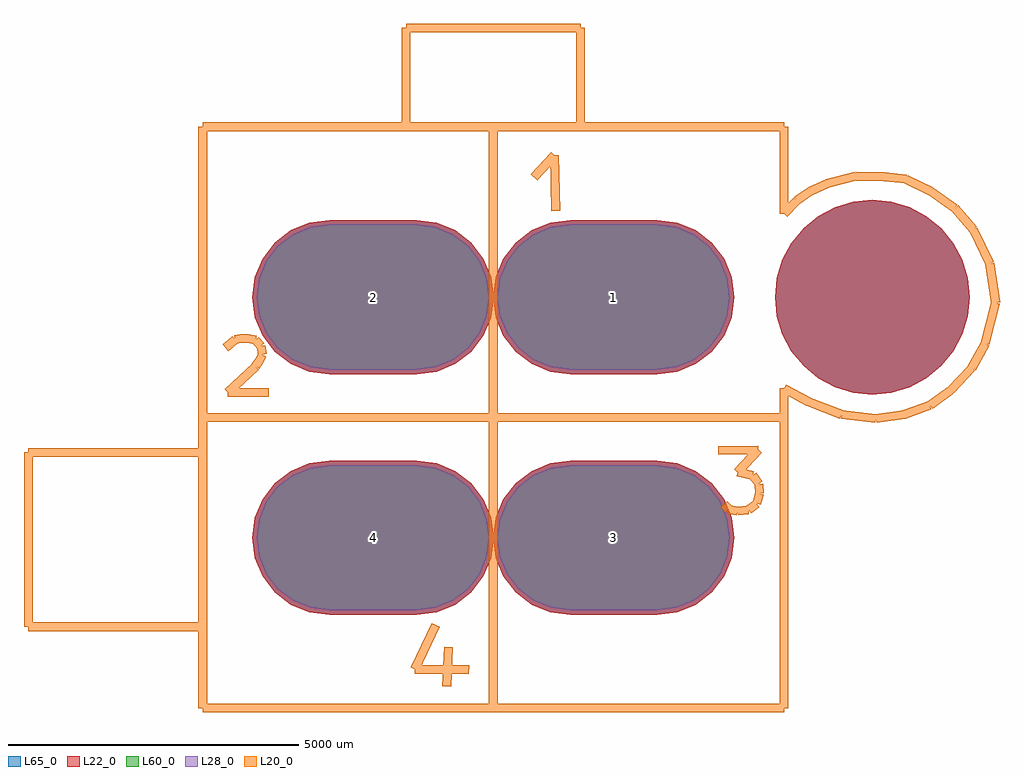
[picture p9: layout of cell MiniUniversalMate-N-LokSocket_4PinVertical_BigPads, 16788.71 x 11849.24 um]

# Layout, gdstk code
import gdstk
lib = gdstk.Library(unit=1e-6, precision=1e-09)
def P(c, l, *ps):  # polygons
    for p in ps: c.add(gdstk.Polygon(p, *l))
L20_0 = (20, 0)
L22_0 = (22, 0)
L28_0 = (28, 0)
L60_0 = (60, 0)
L65_0 = (65, 0)

miniuniversalmate_n_loks = lib.new_cell('MiniUniversalMate-N-LokSocket_4PinVertical_BigPads')
P(miniuniversalmate_n_loks, L22_0, [(8195.38,2070.1),(8163.192,2396.915),(8067.863,2711.171),(7913.058,3000.791),(7704.725,3254.645),(7450.871,3462.978),(7161.251,3617.783),(6846.995,3713.112),(6520.18,3745.3),(6193.365,3713.112),(5879.109,3617.783),(5589.489,3462.978),(5335.635,3254.645),(5127.302,3000.791),(4972.497,2711.171),(4877.168,2396.915),(4844.98,2070.1),(4877.168,1743.285),(4972.497,1429.029),(5127.302,1139.409),(5335.635,885.555),(5589.489,677.222),(5879.109,522.417),(6193.365,427.088),(6520.18,394.9),(6846.995,427.088),(7161.251,522.417),(7450.871,677.222),(7704.725,885.555),(7913.058,1139.409),(8067.863,1429.029),(8163.192,1743.285)],
  [(-2820.67,-3394.78),(-1319.53,-3394.78),(-976.678,-3349.643),(-657.19,-3217.307),(-382.84,-3006.79),(-172.323,-2732.44),(-39.987,-2412.952),(5.15,-2070.1),(-39.987,-1727.248),(-172.323,-1407.76),(-382.84,-1133.41),(-657.19,-922.893),(-976.678,-790.557),(-1319.53,-745.42),(-2820.67,-745.42),(-3163.522,-790.557),(-3483.01,-922.893),(-3757.36,-1133.41),(-3967.877,-1407.76),(-4100.213,-1727.248),(-4145.35,-2070.1),(-4100.213,-2412.952),(-3967.877,-2732.44),(-3757.36,-3006.79),(-3483.01,-3217.307),(-3163.522,-3349.643)],
  [(1319.53,-3394.78),(2820.67,-3394.78),(3163.522,-3349.643),(3483.01,-3217.307),(3757.36,-3006.79),(3967.877,-2732.44),(4100.213,-2412.952),(4145.35,-2070.1),(4100.213,-1727.248),(3967.877,-1407.76),(3757.36,-1133.41),(3483.01,-922.893),(3163.522,-790.557),(2820.67,-745.42),(1319.53,-745.42),(976.678,-790.557),(657.19,-922.893),(382.84,-1133.41),(172.323,-1407.76),(39.987,-1727.248),(-5.15,-2070.1),(39.987,-2412.952),(172.323,-2732.44),(382.84,-3006.79),(657.19,-3217.307),(976.678,-3349.643)],
  [(-2820.67,745.42),(-1319.53,745.42),(-976.678,790.557),(-657.19,922.893),(-382.84,1133.41),(-172.323,1407.76),(-39.987,1727.248),(5.15,2070.1),(-39.987,2412.952),(-172.323,2732.44),(-382.84,3006.79),(-657.19,3217.307),(-976.678,3349.643),(-1319.53,3394.78),(-2820.67,3394.78),(-3163.522,3349.643),(-3483.01,3217.307),(-3757.36,3006.79),(-3967.877,2732.44),(-4100.213,2412.952),(-4145.35,2070.1),(-4100.213,1727.248),(-3967.877,1407.76),(-3757.36,1133.41),(-3483.01,922.893),(-3163.522,790.557)],
  [(1319.53,745.42),(2820.67,745.42),(3163.522,790.557),(3483.01,922.893),(3757.36,1133.41),(3967.877,1407.76),(4100.213,1727.248),(4145.35,2070.1),(4100.213,2412.952),(3967.877,2732.44),(3757.36,3006.79),(3483.01,3217.307),(3163.522,3349.643),(2820.67,3394.78),(1319.53,3394.78),(976.678,3349.643),(657.19,3217.307),(382.84,3006.79),(172.323,2732.44),(39.987,2412.952),(-5.15,2070.1),(39.987,1727.248),(172.323,1407.76),(382.84,1133.41),(657.19,922.893),(976.678,790.557)])
P(miniuniversalmate_n_loks, L28_0, [(-2820.67,-3319.78),(-1319.53,-3319.78),(-996.089,-3277.198),(-694.69,-3152.355),(-435.873,-2953.757),(-237.275,-2694.94),(-112.432,-2393.541),(-69.85,-2070.1),(-112.432,-1746.659),(-237.275,-1445.26),(-435.873,-1186.443),(-694.69,-987.845),(-996.089,-863.002),(-1319.53,-820.42),(-2820.67,-820.42),(-3144.111,-863.002),(-3445.51,-987.845),(-3704.327,-1186.443),(-3902.925,-1445.26),(-4027.768,-1746.659),(-4070.35,-2070.1),(-4027.768,-2393.541),(-3902.925,-2694.94),(-3704.327,-2953.757),(-3445.51,-3152.355),(-3144.111,-3277.198)],
  [(1319.53,-3319.78),(2820.67,-3319.78),(3144.111,-3277.198),(3445.51,-3152.355),(3704.327,-2953.757),(3902.925,-2694.94),(4027.768,-2393.541),(4070.35,-2070.1),(4027.768,-1746.659),(3902.925,-1445.26),(3704.327,-1186.443),(3445.51,-987.845),(3144.111,-863.002),(2820.67,-820.42),(1319.53,-820.42),(996.089,-863.002),(694.69,-987.845),(435.873,-1186.443),(237.275,-1445.26),(112.432,-1746.659),(69.85,-2070.1),(112.432,-2393.541),(237.275,-2694.94),(435.873,-2953.757),(694.69,-3152.355),(996.089,-3277.198)],
  [(-2820.67,820.42),(-1319.53,820.42),(-996.089,863.002),(-694.69,987.845),(-435.873,1186.443),(-237.275,1445.26),(-112.432,1746.659),(-69.85,2070.1),(-112.432,2393.541),(-237.275,2694.94),(-435.873,2953.757),(-694.69,3152.355),(-996.089,3277.198),(-1319.53,3319.78),(-2820.67,3319.78),(-3144.111,3277.198),(-3445.51,3152.355),(-3704.327,2953.757),(-3902.925,2694.94),(-4027.768,2393.541),(-4070.35,2070.1),(-4027.768,1746.659),(-3902.925,1445.26),(-3704.327,1186.443),(-3445.51,987.845),(-3144.111,863.002)],
  [(1319.53,820.42),(2820.67,820.42),(3144.111,863.002),(3445.51,987.845),(3704.327,1186.443),(3902.925,1445.26),(4027.768,1746.659),(4070.35,2070.1),(4027.768,2393.541),(3902.925,2694.94),(3704.327,2953.757),(3445.51,3152.355),(3144.111,3277.198),(2820.67,3319.78),(1319.53,3319.78),(996.089,3277.198),(694.69,3152.355),(435.873,2953.757),(237.275,2694.94),(112.432,2393.541),(69.85,2070.1),(112.432,1746.659),(237.275,1445.26),(435.873,1186.443),(694.69,987.845),(996.089,863.002)])
P(miniuniversalmate_n_loks, L60_0, [(-2820.67,-3319.78),(-1319.53,-3319.78),(-996.089,-3277.198),(-694.69,-3152.355),(-435.873,-2953.757),(-237.275,-2694.94),(-112.432,-2393.541),(-69.85,-2070.1),(-112.432,-1746.659),(-237.275,-1445.26),(-435.873,-1186.443),(-694.69,-987.845),(-996.089,-863.002),(-1319.53,-820.42),(-2820.67,-820.42),(-3144.111,-863.002),(-3445.51,-987.845),(-3704.327,-1186.443),(-3902.925,-1445.26),(-4027.768,-1746.659),(-4070.35,-2070.1),(-4027.768,-2393.541),(-3902.925,-2694.94),(-3704.327,-2953.757),(-3445.51,-3152.355),(-3144.111,-3277.198)],
  [(1319.53,-3319.78),(2820.67,-3319.78),(3144.111,-3277.198),(3445.51,-3152.355),(3704.327,-2953.757),(3902.925,-2694.94),(4027.768,-2393.541),(4070.35,-2070.1),(4027.768,-1746.659),(3902.925,-1445.26),(3704.327,-1186.443),(3445.51,-987.845),(3144.111,-863.002),(2820.67,-820.42),(1319.53,-820.42),(996.089,-863.002),(694.69,-987.845),(435.873,-1186.443),(237.275,-1445.26),(112.432,-1746.659),(69.85,-2070.1),(112.432,-2393.541),(237.275,-2694.94),(435.873,-2953.757),(694.69,-3152.355),(996.089,-3277.198)],
  [(-2820.67,820.42),(-1319.53,820.42),(-996.089,863.002),(-694.69,987.845),(-435.873,1186.443),(-237.275,1445.26),(-112.432,1746.659),(-69.85,2070.1),(-112.432,2393.541),(-237.275,2694.94),(-435.873,2953.757),(-694.69,3152.355),(-996.089,3277.198),(-1319.53,3319.78),(-2820.67,3319.78),(-3144.111,3277.198),(-3445.51,3152.355),(-3704.327,2953.757),(-3902.925,2694.94),(-4027.768,2393.541),(-4070.35,2070.1),(-4027.768,1746.659),(-3902.925,1445.26),(-3704.327,1186.443),(-3445.51,987.845),(-3144.111,863.002)],
  [(1319.53,820.42),(2820.67,820.42),(3144.111,863.002),(3445.51,987.845),(3704.327,1186.443),(3902.925,1445.26),(4027.768,1746.659),(4070.35,2070.1),(4027.768,2393.541),(3902.925,2694.94),(3704.327,2953.757),(3445.51,3152.355),(3144.111,3277.198),(2820.67,3319.78),(1319.53,3319.78),(996.089,3277.198),(694.69,3152.355),(435.873,2953.757),(237.275,2694.94),(112.432,2393.541),(69.85,2070.1),(112.432,1746.659),(237.275,1445.26),(435.873,1186.443),(694.69,987.845),(996.089,863.002)])
P(miniuniversalmate_n_loks, L65_0, [(8195.38,2070.1),(8163.192,2396.915),(8067.863,2711.171),(7913.058,3000.791),(7704.725,3254.645),(7450.871,3462.978),(7161.251,3617.783),(6846.995,3713.112),(6520.18,3745.3),(6193.365,3713.112),(5879.109,3617.783),(5589.489,3462.978),(5335.635,3254.645),(5127.302,3000.791),(4972.497,2711.171),(4877.168,2396.915),(4844.98,2070.1),(4877.168,1743.285),(4972.497,1429.029),(5127.302,1139.409),(5335.635,885.555),(5589.489,677.222),(5879.109,522.417),(6193.365,427.088),(6520.18,394.9),(6846.995,427.088),(7161.251,522.417),(7450.871,677.222),(7704.725,885.555),(7913.058,1139.409),(8067.863,1429.029),(8163.192,1743.285)],
  [(-2820.67,-3394.78),(-1319.53,-3394.78),(-976.678,-3349.643),(-657.19,-3217.307),(-382.84,-3006.79),(-172.323,-2732.44),(-39.987,-2412.952),(5.15,-2070.1),(-39.987,-1727.248),(-172.323,-1407.76),(-382.84,-1133.41),(-657.19,-922.893),(-976.678,-790.557),(-1319.53,-745.42),(-2820.67,-745.42),(-3163.522,-790.557),(-3483.01,-922.893),(-3757.36,-1133.41),(-3967.877,-1407.76),(-4100.213,-1727.248),(-4145.35,-2070.1),(-4100.213,-2412.952),(-3967.877,-2732.44),(-3757.36,-3006.79),(-3483.01,-3217.307),(-3163.522,-3349.643)],
  [(1319.53,-3394.78),(2820.67,-3394.78),(3163.522,-3349.643),(3483.01,-3217.307),(3757.36,-3006.79),(3967.877,-2732.44),(4100.213,-2412.952),(4145.35,-2070.1),(4100.213,-1727.248),(3967.877,-1407.76),(3757.36,-1133.41),(3483.01,-922.893),(3163.522,-790.557),(2820.67,-745.42),(1319.53,-745.42),(976.678,-790.557),(657.19,-922.893),(382.84,-1133.41),(172.323,-1407.76),(39.987,-1727.248),(-5.15,-2070.1),(39.987,-2412.952),(172.323,-2732.44),(382.84,-3006.79),(657.19,-3217.307),(976.678,-3349.643)],
  [(-2820.67,745.42),(-1319.53,745.42),(-976.678,790.557),(-657.19,922.893),(-382.84,1133.41),(-172.323,1407.76),(-39.987,1727.248),(5.15,2070.1),(-39.987,2412.952),(-172.323,2732.44),(-382.84,3006.79),(-657.19,3217.307),(-976.678,3349.643),(-1319.53,3394.78),(-2820.67,3394.78),(-3163.522,3349.643),(-3483.01,3217.307),(-3757.36,3006.79),(-3967.877,2732.44),(-4100.213,2412.952),(-4145.35,2070.1),(-4100.213,1727.248),(-3967.877,1407.76),(-3757.36,1133.41),(-3483.01,922.893),(-3163.522,790.557)],
  [(1319.53,745.42),(2820.67,745.42),(3163.522,790.557),(3483.01,922.893),(3757.36,1133.41),(3967.877,1407.76),(4100.213,1727.248),(4145.35,2070.1),(4100.213,2412.952),(3967.877,2732.44),(3757.36,3006.79),(3483.01,3217.307),(3163.522,3349.643),(2820.67,3394.78),(1319.53,3394.78),(976.678,3349.643),(657.19,3217.307),(382.84,3006.79),(172.323,2732.44),(39.987,2412.952),(-5.15,2070.1),(39.987,1727.248),(172.323,1407.76),(382.84,1133.41),(657.19,922.893),(976.678,790.557)])
miniuniversalmate_n_loks.add(gdstk.FlexPath([(5001.26,-4998.72),(5001.26,500.38)], 149.998, ends="flush", simple_path=True, layer=20, datatype=0))  # L20_0
miniuniversalmate_n_loks.add(gdstk.FlexPath([(-4998.72,-4998.72),(5001.26,-4998.72)], 149.998, ends="flush", simple_path=True, layer=20, datatype=0))  # L20_0
miniuniversalmate_n_loks.add(gdstk.FlexPath([(-4998.72,5001.26),(-4998.72,-4998.72)], 149.998, ends="flush", simple_path=True, layer=20, datatype=0))  # L20_0
miniuniversalmate_n_loks.add(gdstk.FlexPath([(5001.26,5001.26),(-4998.72,5001.26)], 149.998, ends="flush", simple_path=True, layer=20, datatype=0))  # L20_0
miniuniversalmate_n_loks.add(gdstk.FlexPath([(5001.26,5001.26),(5001.26,3500.12)], 149.998, ends="flush", simple_path=True, layer=20, datatype=0))  # L20_0
miniuniversalmate_n_loks.add(gdstk.FlexPath([(5420.36,269.24),(5001.26,500.38)], 149.998, ends="flush", simple_path=True, layer=20, datatype=0))  # L20_0
miniuniversalmate_n_loks.add(gdstk.FlexPath([(5989.32,50.8),(5420.36,269.24)], 149.998, ends="flush", simple_path=True, layer=20, datatype=0))  # L20_0
miniuniversalmate_n_loks.add(gdstk.FlexPath([(6581.14,-20.32),(5989.32,50.8)], 149.998, ends="flush", simple_path=True, layer=20, datatype=0))  # L20_0
miniuniversalmate_n_loks.add(gdstk.FlexPath([(7071.36,50.8),(6581.14,-20.32)], 149.998, ends="flush", simple_path=True, layer=20, datatype=0))  # L20_0
miniuniversalmate_n_loks.add(gdstk.FlexPath([(7510.78,210.82),(7071.36,50.8)], 149.998, ends="flush", simple_path=True, layer=20, datatype=0))  # L20_0
miniuniversalmate_n_loks.add(gdstk.FlexPath([(7868.92,469.9),(7510.78,210.82)], 149.998, ends="flush", simple_path=True, layer=20, datatype=0))  # L20_0
miniuniversalmate_n_loks.add(gdstk.FlexPath([(8229.6,850.9),(7868.92,469.9)], 149.998, ends="flush", simple_path=True, layer=20, datatype=0))  # L20_0
miniuniversalmate_n_loks.add(gdstk.FlexPath([(8460.74,1270),(8229.6,850.9)], 149.998, ends="flush", simple_path=True, layer=20, datatype=0))  # L20_0
miniuniversalmate_n_loks.add(gdstk.FlexPath([(8641.08,1971.04),(8460.74,1270)], 149.998, ends="flush", simple_path=True, layer=20, datatype=0))  # L20_0
miniuniversalmate_n_loks.add(gdstk.FlexPath([(8539.48,2649.22),(8641.08,1971.04)], 149.998, ends="flush", simple_path=True, layer=20, datatype=0))  # L20_0
miniuniversalmate_n_loks.add(gdstk.FlexPath([(8260.08,3230.88),(8539.48,2649.22)], 149.998, ends="flush", simple_path=True, layer=20, datatype=0))  # L20_0
miniuniversalmate_n_loks.add(gdstk.FlexPath([(7940.04,3599.18),(8260.08,3230.88)], 149.998, ends="flush", simple_path=True, layer=20, datatype=0))  # L20_0
miniuniversalmate_n_loks.add(gdstk.FlexPath([(7520.94,3891.28),(7940.04,3599.18)], 149.998, ends="flush", simple_path=True, layer=20, datatype=0))  # L20_0
miniuniversalmate_n_loks.add(gdstk.FlexPath([(7099.3,4099.56),(7520.94,3891.28)], 149.998, ends="flush", simple_path=True, layer=20, datatype=0))  # L20_0
miniuniversalmate_n_loks.add(gdstk.FlexPath([(6720.84,4140.2),(7099.3,4099.56)], 149.998, ends="flush", simple_path=True, layer=20, datatype=0))  # L20_0
miniuniversalmate_n_loks.add(gdstk.FlexPath([(6240.78,4150.36),(6720.84,4140.2)], 149.998, ends="flush", simple_path=True, layer=20, datatype=0))  # L20_0
miniuniversalmate_n_loks.add(gdstk.FlexPath([(5740.4,4020.82),(6240.78,4150.36)], 149.998, ends="flush", simple_path=True, layer=20, datatype=0))  # L20_0
miniuniversalmate_n_loks.add(gdstk.FlexPath([(5450.84,3891.28),(5740.4,4020.82)], 149.998, ends="flush", simple_path=True, layer=20, datatype=0))  # L20_0
miniuniversalmate_n_loks.add(gdstk.FlexPath([(5219.7,3731.26),(5450.84,3891.28)], 149.998, ends="flush", simple_path=True, layer=20, datatype=0))  # L20_0
miniuniversalmate_n_loks.add(gdstk.FlexPath([(5001.26,3500.12),(5219.7,3731.26)], 149.998, ends="flush", simple_path=True, layer=20, datatype=0))  # L20_0
miniuniversalmate_n_loks.add(gdstk.FlexPath([(-1501.14,6700.52),(-1501.14,5001.26)], 149.998, ends="flush", simple_path=True, layer=20, datatype=0))  # L20_0
miniuniversalmate_n_loks.add(gdstk.FlexPath([(1501.14,6700.52),(-1501.14,6700.52)], 149.998, ends="flush", simple_path=True, layer=20, datatype=0))  # L20_0
miniuniversalmate_n_loks.add(gdstk.FlexPath([(1501.14,5001.26),(1501.14,6700.52)], 149.998, ends="flush", simple_path=True, layer=20, datatype=0))  # L20_0
miniuniversalmate_n_loks.add(gdstk.FlexPath([(-7998.46,-3601.72),(-7998.46,-601.98)], 149.998, ends="flush", simple_path=True, layer=20, datatype=0))  # L20_0
miniuniversalmate_n_loks.add(gdstk.FlexPath([(-4998.72,-3601.72),(-7998.46,-3601.72)], 149.998, ends="flush", simple_path=True, layer=20, datatype=0))  # L20_0
miniuniversalmate_n_loks.add(gdstk.FlexPath([(-4998.72,-601.98),(-4998.72,-3601.72)], 149.998, ends="flush", simple_path=True, layer=20, datatype=0))  # L20_0
miniuniversalmate_n_loks.add(gdstk.FlexPath([(-7998.46,-601.98),(-4998.72,-601.98)], 149.998, ends="flush", simple_path=True, layer=20, datatype=0))  # L20_0
miniuniversalmate_n_loks.add(gdstk.FlexPath([(1051.56,4511.04),(1071.88,3550.92)], 149.998, ends="flush", simple_path=True, layer=20, datatype=0))  # L20_0
miniuniversalmate_n_loks.add(gdstk.FlexPath([(701.04,4132.58),(1051.56,4511.04)], 149.998, ends="flush", simple_path=True, layer=20, datatype=0))  # L20_0
miniuniversalmate_n_loks.add(gdstk.FlexPath([(0,5001.26),(0,-4998.72)], 149.998, ends="flush", simple_path=True, layer=20, datatype=0))  # L20_0
miniuniversalmate_n_loks.add(gdstk.FlexPath([(-4998.72,0),(5001.26,0)], 149.998, ends="flush", simple_path=True, layer=20, datatype=0))  # L20_0
miniuniversalmate_n_loks.add(gdstk.FlexPath([(-4569.46,429.26),(-3860.8,429.26)], 149.998, ends="flush", simple_path=True, layer=20, datatype=0))  # L20_0
miniuniversalmate_n_loks.add(gdstk.FlexPath([(-4089.4,878.84),(-4569.46,429.26)], 149.998, ends="flush", simple_path=True, layer=20, datatype=0))  # L20_0
miniuniversalmate_n_loks.add(gdstk.FlexPath([(-4020.82,980.44),(-4089.4,878.84)], 149.998, ends="flush", simple_path=True, layer=20, datatype=0))  # L20_0
miniuniversalmate_n_loks.add(gdstk.FlexPath([(-3970.02,1079.5),(-4020.82,980.44)], 149.998, ends="flush", simple_path=True, layer=20, datatype=0))  # L20_0
miniuniversalmate_n_loks.add(gdstk.FlexPath([(-4000.5,1229.36),(-3970.02,1079.5)], 149.998, ends="flush", simple_path=True, layer=20, datatype=0))  # L20_0
miniuniversalmate_n_loks.add(gdstk.FlexPath([(-4089.4,1330.96),(-4000.5,1229.36)], 149.998, ends="flush", simple_path=True, layer=20, datatype=0))  # L20_0
miniuniversalmate_n_loks.add(gdstk.FlexPath([(-4218.94,1358.9),(-4089.4,1330.96)], 149.998, ends="flush", simple_path=True, layer=20, datatype=0))  # L20_0
miniuniversalmate_n_loks.add(gdstk.FlexPath([(-4340.86,1358.9),(-4218.94,1358.9)], 149.998, ends="flush", simple_path=True, layer=20, datatype=0))  # L20_0
miniuniversalmate_n_loks.add(gdstk.FlexPath([(-4439.92,1341.12),(-4340.86,1358.9)], 149.998, ends="flush", simple_path=True, layer=20, datatype=0))  # L20_0
miniuniversalmate_n_loks.add(gdstk.FlexPath([(-4518.66,1270),(-4439.92,1341.12)], 149.998, ends="flush", simple_path=True, layer=20, datatype=0))  # L20_0
miniuniversalmate_n_loks.add(gdstk.FlexPath([(-4610.1,1198.88),(-4518.66,1270)], 149.998, ends="flush", simple_path=True, layer=20, datatype=0))  # L20_0
miniuniversalmate_n_loks.add(gdstk.FlexPath([(-1348.74,-4330.7),(-419.1,-4340.86)], 149.998, ends="flush", simple_path=True, layer=20, datatype=0))  # L20_0
miniuniversalmate_n_loks.add(gdstk.FlexPath([(-990.6,-3568.7),(-1348.74,-4330.7)], 149.998, ends="flush", simple_path=True, layer=20, datatype=0))  # L20_0
miniuniversalmate_n_loks.add(gdstk.FlexPath([(-769.62,-3949.7),(-800.1,-4630.42)], 149.998, ends="flush", simple_path=True, layer=20, datatype=0))  # L20_0
miniuniversalmate_n_loks.add(gdstk.FlexPath([(4051.3,-1579.88),(3970.02,-1490.98)], 149.998, ends="flush", simple_path=True, layer=20, datatype=0))  # L20_0
miniuniversalmate_n_loks.add(gdstk.FlexPath([(4201.16,-1610.36),(4051.3,-1579.88)], 149.998, ends="flush", simple_path=True, layer=20, datatype=0))  # L20_0
miniuniversalmate_n_loks.add(gdstk.FlexPath([(4389.12,-1590.04),(4201.16,-1610.36)], 149.998, ends="flush", simple_path=True, layer=20, datatype=0))  # L20_0
miniuniversalmate_n_loks.add(gdstk.FlexPath([(4531.36,-1480.82),(4389.12,-1590.04)], 149.998, ends="flush", simple_path=True, layer=20, datatype=0))  # L20_0
miniuniversalmate_n_loks.add(gdstk.FlexPath([(4579.62,-1310.64),(4531.36,-1480.82)], 149.998, ends="flush", simple_path=True, layer=20, datatype=0))  # L20_0
miniuniversalmate_n_loks.add(gdstk.FlexPath([(4569.46,-1140.46),(4579.62,-1310.64)], 149.998, ends="flush", simple_path=True, layer=20, datatype=0))  # L20_0
miniuniversalmate_n_loks.add(gdstk.FlexPath([(4460.24,-1000.76),(4569.46,-1140.46)], 149.998, ends="flush", simple_path=True, layer=20, datatype=0))  # L20_0
miniuniversalmate_n_loks.add(gdstk.FlexPath([(4201.16,-939.8),(4460.24,-1000.76)], 149.998, ends="flush", simple_path=True, layer=20, datatype=0))  # L20_0
miniuniversalmate_n_loks.add(gdstk.FlexPath([(4559.3,-558.8),(4201.16,-939.8)], 149.998, ends="flush", simple_path=True, layer=20, datatype=0))  # L20_0
miniuniversalmate_n_loks.add(gdstk.FlexPath([(3870.96,-568.96),(4559.3,-558.8)], 149.998, ends="flush", simple_path=True, layer=20, datatype=0))  # L20_0
miniuniversalmate_n_loks.add(gdstk.Label('4', (-2070.1,-2070.1), layer=28, texttype=0))
miniuniversalmate_n_loks.add(gdstk.Label('3', (2070.1,-2070.1), layer=28, texttype=0))
miniuniversalmate_n_loks.add(gdstk.Label('2', (-2070.1,2070.1), layer=28, texttype=0))
miniuniversalmate_n_loks.add(gdstk.Label('1', (2070.1,2070.1), layer=28, texttype=0))
miniuniversalmate_n_loks.add(gdstk.Label('type', (-30.48,-8569.96), layer=9, texttype=0))
miniuniversalmate_n_loks.add(gdstk.Label('devicename', (-78.74,8849.36), layer=9, texttype=0))

lib.write_gds('MiniUniversalMate-N-LokSocket_4PinVertical_BigPads.gds')
